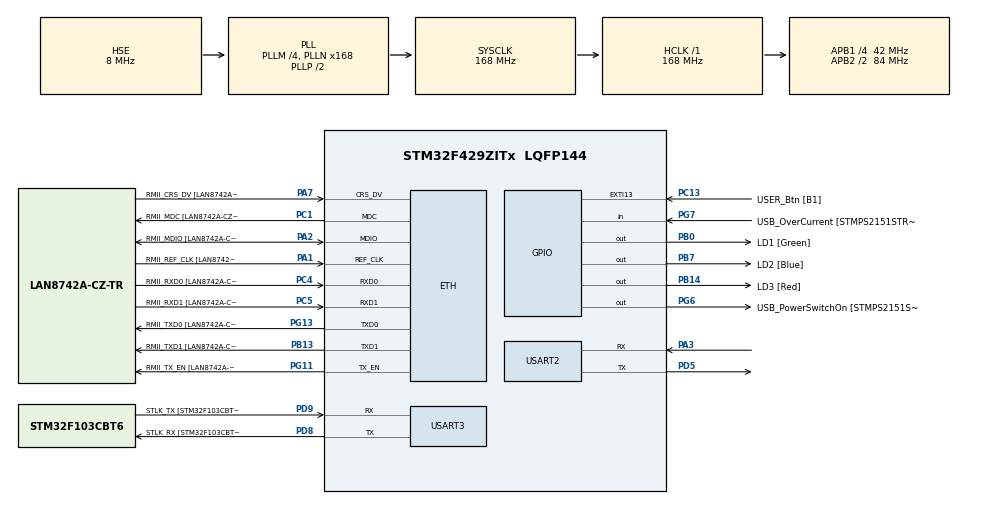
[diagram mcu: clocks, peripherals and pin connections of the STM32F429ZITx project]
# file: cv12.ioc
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Dma.Request0=USART2_RX
Dma.USART2_RX.0.Direction=DMA_PERIPH_TO_MEMORY
Dma.USART2_RX.0.FIFOMode=DMA_FIFOMODE_DISABLE
Dma.USART2_RX.0.Instance=DMA1_Stream5
Dma.USART2_RX.0.MemDataAlignment=DMA_MDATAALIGN_BYTE
Dma.USART2_RX.0.MemInc=DMA_MINC_ENABLE
Dma.USART2_RX.0.Mode=DMA_CIRCULAR
Dma.USART2_RX.0.PeriphDataAlignment=DMA_PDATAALIGN_BYTE
Dma.USART2_RX.0.PeriphInc=DMA_PINC_DISABLE
Dma.USART2_RX.0.Priority=DMA_PRIORITY_LOW
ETH.MACAddr=00\:80\:E1\:FE\:EC\:72
ETH.MediaInterface=HAL_ETH_RMII_MODE
ETH.PHY_Name=LAN8742A_PHY_ADDRESS
ETH.PHY_Value=0
ETH.PhyAddress=0
FREERTOS.Tasks01=defaultTask,0,1024,StartDefaultTask,Default,NULL,Dynamic,NULL,NULL
FREERTOS.configTOTAL_HEAP_SIZE=32768
FREERTOS.configUSE_NEWLIB_REENTRANT=1
LWIP.BSP.number=1
LWIP.LWIP_HTTPD=1
LWIP.Version=v2.1.2_Cube
LWIP0.BSP.STBoard=false
LWIP0.BSP.api=BSP_COMPONENT_DRIVER
LWIP0.BSP.component=LAN8742
LWIP0.BSP.instance=LAN8742
LWIP0.BSP.name=Driver_PHY
LWIP0.BSP.semaphore=S_LAN8742
LWIP0.BSP.solution=LAN8742
Mcu.Family=STM32F4
Mcu.Name=STM32F429ZITx
Mcu.Package=LQFP144
NVIC.DMA1_Stream5_IRQn=true\:5\:0\:false\:false\:true\:true\:false\:true\:true
NVIC.ETH_IRQn=true\:5\:0\:false\:false\:true\:true\:false\:true\:true
NVIC.PriorityGroup=NVIC_PRIORITYGROUP_4
NVIC.TIM8_TRG_COM_TIM14_IRQn=true\:15\:0\:false\:false\:true\:false\:false\:true\:true
NVIC.TimeBase=TIM8_TRG_COM_TIM14_IRQn
NVIC.TimeBaseIP=TIM14
PA1.GPIO_Label=RMII_REF_CLK [LAN8742A-CZ-TR_REFCLK0]
PA1.Mode=RMII
PA1.Signal=ETH_REF_CLK
PA10.GPIO_Label=USB_ID
PA10.Signal=USB_OTG_FS_ID
PA11.GPIO_Label=USB_DM
PA11.Signal=USB_OTG_FS_DM
PA12.GPIO_Label=USB_DP
PA12.Signal=USB_OTG_FS_DP
PA13.GPIO_Label=TMS
PA13.Mode=Serial_Wire
PA13.Signal=SYS_JTMS-SWDIO
PA14.GPIO_Label=TCK
PA14.Mode=Serial_Wire
PA14.Signal=SYS_JTCK-SWCLK
PA2.GPIO_Label=RMII_MDIO [LAN8742A-CZ-TR_MDIO]
PA2.Mode=RMII
PA2.Signal=ETH_MDIO
PA3.Mode=Asynchronous
PA3.Signal=USART2_RX
PA7.GPIO_Label=RMII_CRS_DV [LAN8742A-CZ-TR_CRS_DV]
PA7.Mode=RMII
PA7.Signal=ETH_CRS_DV
PA8.GPIO_Label=USB_SOF [TP1]
PA8.Signal=USB_OTG_FS_SOF
PA9.GPIO_Label=USB_VBUS
PA9.Signal=USB_OTG_FS_VBUS
PB0.GPIO_Label=LD1 [Green]
PB0.Signal=GPIO_Output
PB13.GPIO_Label=RMII_TXD1 [LAN8742A-CZ-TR_TXD1]
PB13.Mode=RMII
PB13.Signal=ETH_TXD1
PB14.GPIO_Label=LD3 [Red]
PB14.Signal=GPIO_Output
PB7.GPIO_Label=LD2 [Blue]
PB7.Signal=GPIO_Output
PC1.GPIO_Label=RMII_MDC [LAN8742A-CZ-TR_MDC]
PC1.Mode=RMII
PC1.Signal=ETH_MDC
PC13.GPIO_Label=USER_Btn [B1]
PC13.Signal=GPXTI13
PC14/OSC32_IN.Mode=LSE-External-Oscillator
PC14/OSC32_IN.Signal=RCC_OSC32_IN
PC15/OSC32_OUT.Mode=LSE-External-Oscillator
PC15/OSC32_OUT.Signal=RCC_OSC32_OUT
PC4.GPIO_Label=RMII_RXD0 [LAN8742A-CZ-TR_RXD0]
PC4.Mode=RMII
PC4.Signal=ETH_RXD0
PC5.GPIO_Label=RMII_RXD1 [LAN8742A-CZ-TR_RXD1]
PC5.Mode=RMII
PC5.Signal=ETH_RXD1
PD5.Mode=Asynchronous
PD5.Signal=USART2_TX
PD8.GPIO_Label=STLK_RX [STM32F103CBT6_PA3]
PD8.Mode=Asynchronous
PD8.Signal=USART3_TX
PD9.GPIO_Label=STLK_TX [STM32F103CBT6_PA2]
PD9.Mode=Asynchronous
PD9.Signal=USART3_RX
PG11.GPIO_Label=RMII_TX_EN [LAN8742A-CZ-TR_TXEN]
PG11.Mode=RMII
PG11.Signal=ETH_TX_EN
PG13.GPIO_Label=RMII_TXD0 [LAN8742A-CZ-TR_TXD0]
PG13.Mode=RMII
PG13.Signal=ETH_TXD0
PG6.GPIO_Label=USB_PowerSwitchOn [STMPS2151STR_EN]
PG6.Signal=GPIO_Output
PG7.GPIO_Label=USB_OverCurrent [STMPS2151STR_FAULT]
PG7.Signal=GPIO_Input
PH0/OSC_IN.GPIO_Label=MCO [STM32F103CBT6_PA8]
PH0/OSC_IN.Mode=HSE-External-Clock-Source
PH0/OSC_IN.Signal=RCC_OSC_IN
PH1/OSC_OUT.Mode=HSE-External-Clock-Source
PH1/OSC_OUT.Signal=RCC_OSC_OUT
ProjectManager.HeapSize=0x200
ProjectManager.StackSize=0x400
ProjectManager.TargetToolchain=STM32CubeIDE
RCC.48MHZClocksFreq_Value=48000000
RCC.AHBFreq_Value=168000000
RCC.APB1CLKDivider=RCC_HCLK_DIV4
RCC.APB1Freq_Value=42000000
RCC.APB1TimFreq_Value=84000000
RCC.APB2CLKDivider=RCC_HCLK_DIV2
RCC.APB2Freq_Value=84000000
RCC.APB2TimCLKDivider=2
RCC.APB2TimFreq_Value=168000000
RCC.CortexFreq_Value=168000000
RCC.HCLKFreq_Value=168000000
RCC.HSE_VALUE=8000000
RCC.HSI_VALUE=16000000
RCC.PLLM=4
RCC.PLLMUL=RCC_PLL_MUL9
RCC.PLLN=168
RCC.PLLQ=7
RCC.PLLSourceVirtual=RCC_PLLSOURCE_HSE
RCC.PRESCALERUSB=RCC_USBCLKSOURCE_PLL_DIV1_5
RCC.SYSCLKFreq_VALUE=168000000
RCC.SYSCLKSource=RCC_SYSCLKSOURCE_PLLCLK
RCC.SYSCLKSourceVirtual=RCC_SYSCLKSOURCE_PLLCLK
RCC.USBFreq_Value=48000000
RCC.VCOOutputFreq_Value=336000000
USART2.VirtualMode=VM_ASYNC
USART3.VirtualMode=VM_ASYNC
VP_FREERTOS_VS_CMSIS_V1.Mode=CMSIS_V1
VP_LWIP_VS_Enabled.Mode=Enabled
VP_SYS_VS_tim14.Mode=TIM14
board=NUCLEO-F429ZI

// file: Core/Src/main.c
/* USER CODE BEGIN Header */
/**
  ******************************************************************************
  * @file           : main.c
  * @brief          : Main program body
  ******************************************************************************
  * @attention
  *
  * Copyright (c) 2023 STMicroelectronics.
  * All rights reserved.
  *
  * This software is licensed under terms that can be found in the LICENSE file
  * in the root directory of this software component.
  * If no LICENSE file comes with this software, it is provided AS-IS.
  *
  ******************************************************************************
  */
/* USER CODE END Header */
#include "main.h"
#include "cmsis_os.h"
#include "lwip.h"

/* USER CODE BEGIN Includes */
#include "lwip/apps/httpd.h"
#include <stdio.h>
#include <string.h>

/* USER CODE END Includes */

/* USER CODE BEGIN PD */
#define RX_BUFFER_LEN 64
#define  CMD_BUFFER_LEN 256
#define uart_rx_write_ptr (RX_BUFFER_LEN - hdma_usart2_rx.Instance->CNDTR)
/* USER CODE END PD */

UART_HandleTypeDef huart2;
UART_HandleTypeDef huart3;
DMA_HandleTypeDef hdma_usart2_rx;

osThreadId defaultTaskHandle;
/* USER CODE BEGIN PV */
static uint8_t uart_rx_buf[RX_BUFFER_LEN];
static volatile uint16_t uart_rx_read_ptr = 0;
/* USER CODE END PV */

void SystemClock_Config(void);
static void MX_GPIO_Init(void);
static void MX_DMA_Init(void);
static void MX_USART3_UART_Init(void);
static void MX_USART2_UART_Init(void);
void StartDefaultTask(void const * argument);

/* USER CODE BEGIN PFP */
extern void tcpecho_init(void);
/* USER CODE END PFP */

/* USER CODE BEGIN 0 */

static void telnet_byte_available(uint8_t c, struct netconn *conn)
{
 static uint16_t cnt;
 static char data[CMD_BUFFER_LEN];
 if (cnt < CMD_BUFFER_LEN && c >= 32 && c <= 127) data[cnt++] = c;
 if (c == '\n' || c == '\r') {
 data[cnt] = '\0';
 telnet_process_command(data, conn);
 cnt = 0;
 }
}
/* USER CODE END 0 */

int main(void)
{

  /* MCU Configuration--------------------------------------------------------*/

  /* Reset of all peripherals, Initializes the Flash interface and the Systick. */
  HAL_Init();

  /* Configure the system clock */
  SystemClock_Config();

  /* Initialize all configured peripherals */
  MX_GPIO_Init();
  MX_DMA_Init();
  MX_USART3_UART_Init();
  MX_USART2_UART_Init();

  /* Create the thread(s) */
  /* definition and creation of defaultTask */
  osThreadDef(defaultTask, StartDefaultTask, osPriorityNormal, 0, 1024);
  defaultTaskHandle = osThreadCreate(osThread(defaultTask), NULL);

  /* Start scheduler */
  osKernelStart();

  /* We should never get here as control is now taken by the scheduler */
  /* Infinite loop */
  while (1)
  {

  }
}

void SystemClock_Config(void)
{
  RCC_OscInitTypeDef RCC_OscInitStruct = {0};
  RCC_ClkInitTypeDef RCC_ClkInitStruct = {0};

  /** Configure the main internal regulator output voltage
  */
  __HAL_RCC_PWR_CLK_ENABLE();
  __HAL_PWR_VOLTAGESCALING_CONFIG(PWR_REGULATOR_VOLTAGE_SCALE1);

  /** Initializes the RCC Oscillators according to the specified parameters
  * in the RCC_OscInitTypeDef structure.
  */
  RCC_OscInitStruct.OscillatorType = RCC_OSCILLATORTYPE_HSE;
  RCC_OscInitStruct.HSEState = RCC_HSE_BYPASS;
  RCC_OscInitStruct.PLL.PLLState = RCC_PLL_ON;
  RCC_OscInitStruct.PLL.PLLSource = RCC_PLLSOURCE_HSE;
  RCC_OscInitStruct.PLL.PLLM = 4;
  RCC_OscInitStruct.PLL.PLLN = 168;
  RCC_OscInitStruct.PLL.PLLP = RCC_PLLP_DIV2;
  RCC_OscInitStruct.PLL.PLLQ = 7;
  if (HAL_RCC_OscConfig(&RCC_OscInitStruct) != HAL_OK)
  {
    Error_Handler();
  }

  /** Initializes the CPU, AHB and APB buses clocks
  */
  RCC_ClkInitStruct.ClockType = RCC_CLOCKTYPE_HCLK|RCC_CLOCKTYPE_SYSCLK
                              |RCC_CLOCKTYPE_PCLK1|RCC_CLOCKTYPE_PCLK2;
  RCC_ClkInitStruct.SYSCLKSource = RCC_SYSCLKSOURCE_PLLCLK;
  RCC_ClkInitStruct.AHBCLKDivider = RCC_SYSCLK_DIV1;
  RCC_ClkInitStruct.APB1CLKDivider = RCC_HCLK_DIV4;
  RCC_ClkInitStruct.APB2CLKDivider = RCC_HCLK_DIV2;

  if (HAL_RCC_ClockConfig(&RCC_ClkInitStruct, FLASH_LATENCY_5) != HAL_OK)
  {
    Error_Handler();
  }
}

static void MX_USART2_UART_Init(void)
{

  huart2.Instance = USART2;
  huart2.Init.BaudRate = 115200;
  huart2.Init.WordLength = UART_WORDLENGTH_8B;
  huart2.Init.StopBits = UART_STOPBITS_1;
  huart2.Init.Parity = UART_PARITY_NONE;
  huart2.Init.Mode = UART_MODE_TX_RX;
  huart2.Init.HwFlowCtl = UART_HWCONTROL_NONE;
  huart2.Init.OverSampling = UART_OVERSAMPLING_16;
  if (HAL_UART_Init(&huart2) != HAL_OK)
  {
    Error_Handler();
  }

}

static void MX_USART3_UART_Init(void)
{

  huart3.Instance = USART3;
  huart3.Init.BaudRate = 115200;
  huart3.Init.WordLength = UART_WORDLENGTH_8B;
  huart3.Init.StopBits = UART_STOPBITS_1;
  huart3.Init.Parity = UART_PARITY_NONE;
  huart3.Init.Mode = UART_MODE_TX_RX;
  huart3.Init.HwFlowCtl = UART_HWCONTROL_NONE;
  huart3.Init.OverSampling = UART_OVERSAMPLING_16;
  if (HAL_UART_Init(&huart3) != HAL_OK)
  {
    Error_Handler();
  }

}

static void MX_DMA_Init(void)
{

  /* DMA controller clock enable */
  __HAL_RCC_DMA1_CLK_ENABLE();

  /* DMA interrupt init */
  /* DMA1_Stream5_IRQn interrupt configuration */
  HAL_NVIC_SetPriority(DMA1_Stream5_IRQn, 5, 0);
  HAL_NVIC_EnableIRQ(DMA1_Stream5_IRQn);

}

static void MX_GPIO_Init(void)
{
  GPIO_InitTypeDef GPIO_InitStruct = {0};

  /* GPIO Ports Clock Enable */
  __HAL_RCC_GPIOC_CLK_ENABLE();
  __HAL_RCC_GPIOH_CLK_ENABLE();
  __HAL_RCC_GPIOA_CLK_ENABLE();
  __HAL_RCC_GPIOB_CLK_ENABLE();
  __HAL_RCC_GPIOD_CLK_ENABLE();
  __HAL_RCC_GPIOG_CLK_ENABLE();

  /*Configure GPIO pin Output Level */
  HAL_GPIO_WritePin(GPIOB, LD1_Pin|LD3_Pin|LD2_Pin, GPIO_PIN_RESET);

  /*Configure GPIO pin Output Level */
  HAL_GPIO_WritePin(USB_PowerSwitchOn_GPIO_Port, USB_PowerSwitchOn_Pin, GPIO_PIN_RESET);

  /*Configure GPIO pin : USER_Btn_Pin */
  GPIO_InitStruct.Pin = USER_Btn_Pin;
  GPIO_InitStruct.Mode = GPIO_MODE_IT_RISING;
  GPIO_InitStruct.Pull = GPIO_NOPULL;
  HAL_GPIO_Init(USER_Btn_GPIO_Port, &GPIO_InitStruct);

  /*Configure GPIO pins : LD1_Pin LD3_Pin LD2_Pin */
  GPIO_InitStruct.Pin = LD1_Pin|LD3_Pin|LD2_Pin;
  GPIO_InitStruct.Mode = GPIO_MODE_OUTPUT_PP;
  GPIO_InitStruct.Pull = GPIO_NOPULL;
  GPIO_InitStruct.Speed = GPIO_SPEED_FREQ_LOW;
  HAL_GPIO_Init(GPIOB, &GPIO_InitStruct);

  /*Configure GPIO pin : USB_PowerSwitchOn_Pin */
  GPIO_InitStruct.Pin = USB_PowerSwitchOn_Pin;
  GPIO_InitStruct.Mode = GPIO_MODE_OUTPUT_PP;
  GPIO_InitStruct.Pull = GPIO_NOPULL;
  GPIO_InitStruct.Speed = GPIO_SPEED_FREQ_LOW;
  HAL_GPIO_Init(USB_PowerSwitchOn_GPIO_Port, &GPIO_InitStruct);

  /*Configure GPIO pin : USB_OverCurrent_Pin */
  GPIO_InitStruct.Pin = USB_OverCurrent_Pin;
  GPIO_InitStruct.Mode = GPIO_MODE_INPUT;
  GPIO_InitStruct.Pull = GPIO_NOPULL;
  HAL_GPIO_Init(USB_OverCurrent_GPIO_Port, &GPIO_InitStruct);

  /*Configure GPIO pins : USB_SOF_Pin USB_ID_Pin USB_DM_Pin USB_DP_Pin */
  GPIO_InitStruct.Pin = USB_SOF_Pin|USB_ID_Pin|USB_DM_Pin|USB_DP_Pin;
  GPIO_InitStruct.Mode = GPIO_MODE_AF_PP;
  GPIO_InitStruct.Pull = GPIO_NOPULL;
  GPIO_InitStruct.Speed = GPIO_SPEED_FREQ_VERY_HIGH;
  GPIO_InitStruct.Alternate = GPIO_AF10_OTG_FS;
  HAL_GPIO_Init(GPIOA, &GPIO_InitStruct);

  /*Configure GPIO pin : USB_VBUS_Pin */
  GPIO_InitStruct.Pin = USB_VBUS_Pin;
  GPIO_InitStruct.Mode = GPIO_MODE_INPUT;
  GPIO_InitStruct.Pull = GPIO_NOPULL;
  HAL_GPIO_Init(USB_VBUS_GPIO_Port, &GPIO_InitStruct);

}

void StartDefaultTask(void const * argument)
{
  /* init code for LWIP */
  MX_LWIP_Init();
  /* USER CODE BEGIN 5 */
  tcpecho_init();

  /* Initialize HTTP server */
  httpd_init();

  telnet_init();

  /* Infinite loop */
  for(;;)
  {
    osDelay(1);
  }
  /* USER CODE END 5 */
}

void HAL_TIM_PeriodElapsedCallback(TIM_HandleTypeDef *htim)
{
  if (htim->Instance == TIM14) {
    HAL_IncTick();
  }
}

void Error_Handler(void)
{
  __disable_irq();
  while (1)
  {
  }
}
